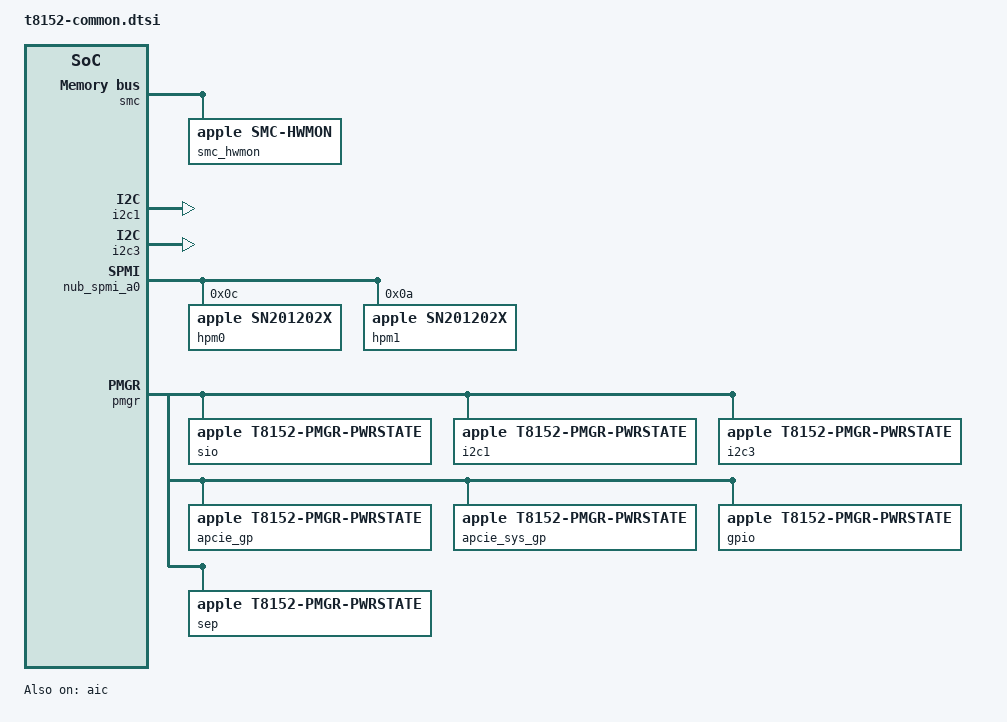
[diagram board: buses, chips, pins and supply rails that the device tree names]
// SPDX-License-Identifier: GPL-2.0+ OR MIT
/*
 * Core description shared by the T8152 boards booted from RAM by the loader
 * (J804, J833ct). The loader fills usable memory, the release addresses of
 * the CPUs it started (and removes the others) and the boot framebuffer.
 * The console is the framebuffer. Every value here is identical in the J804
 * and J833ct ADTs; boards add only what differs.
 *
 * Split out of t8152-j804.dts (LiamRay11).
 */

#include "t8152.dtsi"
#include <dt-bindings/gpio/gpio.h>
#include <dt-bindings/spmi/spmi.h>

/ {
	/* Retain the RAM handoff and secondary CPU park contract. */
	aurora,minimal-boot;

	chosen {
		#address-cells = <2>;
		#size-cells = <2>;
		ranges;

		framebuffer0: framebuffer@0 {
			compatible = "apple,simple-framebuffer", "simple-framebuffer";
			reg = <0 0 0 0>; /* Filled by the loader. */
			status = "disabled";
		};
	};

	/*
	 * As on M4 and later, the OS cannot request core power-down: both idle
	 * states are WFI. The driver must be bound for s2idle to freeze the
	 * tick and suspend timekeeping.
	 */
	cpuidle {
		compatible = "apple,t8152-cpuidle", "apple,t8140-cpuidle";
	};

	/*
	 * The first two CPU performance states of each cluster, which the
	 * driver may use without a thermal policy, as on J873.
	 */
	m6_e_opp: opp-table-e {
		compatible = "operating-points-v2";
		opp-shared;

		opp-972000000 {
			opp-hz = /bits/ 64 <972000000>;
			opp-level = <2>;
		};
		opp-1152000000 {
			opp-hz = /bits/ 64 <1152000000>;
			opp-level = <3>;
		};
	};

	m6_pm_opp: opp-table-pm {
		compatible = "operating-points-v2";
		opp-shared;

		opp-1440000000 {
			opp-hz = /bits/ 64 <1440000000>;
			opp-level = <2>;
		};
		opp-1728000000 {
			opp-hz = /bits/ 64 <1728000000>;
			opp-level = <3>;
		};
	};
};

&{/reserved-memory} {
	smc-firmware@30de00000 {
		reg = <3 0x0de00000 0 0x120000>;
		no-map;
	};
};

&cpu0 {
	operating-points-v2 = <&m6_e_opp>;
	performance-domains = <&m6_e_cpufreq>;
	status = "okay";
};

&cpu1 {
	operating-points-v2 = <&m6_e_opp>;
	performance-domains = <&m6_e_cpufreq>;
	status = "okay";
};

&cpu2 {
	operating-points-v2 = <&m6_e_opp>;
	performance-domains = <&m6_e_cpufreq>;
	status = "okay";
};

&cpu3 {
	operating-points-v2 = <&m6_e_opp>;
	performance-domains = <&m6_e_cpufreq>;
	status = "okay";
};

&cpu4 {
	operating-points-v2 = <&m6_e_opp>;
	performance-domains = <&m6_e_cpufreq>;
	status = "okay";
};

&cpu5 {
	operating-points-v2 = <&m6_e_opp>;
	performance-domains = <&m6_e_cpufreq>;
	status = "okay";
};

&cpu6 {
	operating-points-v2 = <&m6_pm_opp>;
	performance-domains = <&m6_pm_cpufreq>;
	status = "okay";
};

&cpu7 {
	operating-points-v2 = <&m6_pm_opp>;
	performance-domains = <&m6_pm_cpufreq>;
	status = "okay";
};

&cpu8 {
	operating-points-v2 = <&m6_pm_opp>;
	performance-domains = <&m6_pm_cpufreq>;
	status = "okay";
};

&cpu9 {
	operating-points-v2 = <&m6_pm_opp>;
	performance-domains = <&m6_pm_cpufreq>;
	status = "okay";
};

&cpu10 {
	operating-points-v2 = <&m6_pm_opp>;
	performance-domains = <&m6_pm_cpufreq>;
	status = "okay";
};

&cpu11 {
	operating-points-v2 = <&m6_pm_opp>;
	performance-domains = <&m6_pm_cpufreq>;
	status = "okay";
};

&aic {
	status = "okay";
};

&{/timer} {
	status = "okay";
};

&{/soc} {
	m6_e_cpufreq: performance-controller@210e20000 {
		compatible = "apple,t8152-cluster-cpufreq";
		reg = <2 0x10e20000 0 0x1000>;
		#performance-domain-cells = <0>;
	};

	m6_pm_cpufreq: performance-controller@211e20000 {
		compatible = "apple,t8152-cluster-cpufreq";
		reg = <2 0x11e20000 0 0x1000>;
		#performance-domain-cells = <0>;
	};

	smc_mbox: mailbox@30c710080 {
		compatible = "apple,t8152-smc-mailbox";
		reg = <3 0x0c710080 0 0x80>;
		interrupts = <AIC_IRQ 760 IRQ_TYPE_LEVEL_HIGH>,
			     <AIC_IRQ 759 IRQ_TYPE_LEVEL_HIGH>;
		interrupt-names = "send-empty", "recv-not-empty";
		#mbox-cells = <0>;
	};

	smc: smc@30c600000 {
		compatible = "apple,t8152-smc";
		reg = <3 0x0c600000 0 0x74000>,
		      <3 0x0de00000 0 0x120000>;
		reg-names = "smc", "sram";
		mboxes = <&smc_mbox>;

		/* Boards add their fan and power keys. */
		smc_hwmon: hwmon {
			compatible = "apple,smc-hwmon";
			apple,discover-temperatures;
		};
	};

	wdt: watchdog@3082b0000 {
		compatible = "apple,t8152-wdt", "apple,t8103-wdt";
		reg = <3 0x082b0000 0 0x4000>;
		clocks = <&clkref>;
		interrupts = <AIC_IRQ 447 IRQ_TYPE_LEVEL_HIGH>;
	};

	pinctrl_ap: pinctrl@31a000000 {
		/*
		 * Uncached (T8140 profile): a cache filled at probe would read
		 * pins 78 and 208, which fault on an AP read. Boards reserve
		 * their ADT no-restore-gpio-pins with gpio-reserved-ranges.
		 */
		compatible = "apple,t8152-pinctrl", "apple,t8140-pinctrl";
		reg = <0x3 0x1a000000 0x0 0x100000>;
		gpio-controller;
		#gpio-cells = <2>;
		gpio-ranges = <&pinctrl_ap 0 0 224>;
		apple,npins = <224>;
		interrupt-controller;
		#interrupt-cells = <2>;
		interrupts = <AIC_IRQ 433 IRQ_TYPE_LEVEL_HIGH>,
			     <AIC_IRQ 434 IRQ_TYPE_LEVEL_HIGH>,
			     <AIC_IRQ 435 IRQ_TYPE_LEVEL_HIGH>,
			     <AIC_IRQ 436 IRQ_TYPE_LEVEL_HIGH>,
			     <AIC_IRQ 437 IRQ_TYPE_LEVEL_HIGH>,
			     <AIC_IRQ 438 IRQ_TYPE_LEVEL_HIGH>,
			     <AIC_IRQ 439 IRQ_TYPE_LEVEL_HIGH>;
	};

	/* The headphone jack codec. */
	i2c1: i2c@331014000 {
		compatible = "apple,t8152-i2c", "apple,t8103-i2c";
		reg = <3 0x31014000 0 0x4000>;
		clocks = <&clkref>;
		interrupts = <AIC_IRQ 1414 IRQ_TYPE_LEVEL_HIGH>;
		#address-cells = <1>;
		#size-cells = <0>;
		power-domains = <&ps_i2c1>;
		resets = <&ps_i2c1>;

		/* Disabled until the sound card that uses it is described. */
		jack_codec: codec@4b {
			compatible = "cirrus,cs42l84";
			reg = <0x4b>;
			reset-gpios = <&pinctrl_ap 204 GPIO_ACTIVE_HIGH>;
			interrupts-extended = <&pinctrl_ap 203 IRQ_TYPE_LEVEL_LOW>;
			#sound-dai-cells = <0>;
			status = "disabled";
		};
	};

	/* The speaker amplifiers, described with the audio support. */
	i2c3: i2c@33101c000 {
		compatible = "apple,t8152-i2c", "apple,t8103-i2c";
		reg = <3 0x3101c000 0 0x4000>;
		clocks = <&clkref>;
		interrupts = <AIC_IRQ 1416 IRQ_TYPE_LEVEL_HIGH>;
		#address-cells = <1>;
		#size-cells = <0>;
		power-domains = <&ps_i2c3>;
		resets = <&ps_i2c3>;
	};

	/*
	 * The USB-C PD controllers (SN201202x) of the first two USB-C ports,
	 * on nub-spmi-a0 at the same SIDs in the J804 and J833ct ADTs. They are
	 * polled, as on T8142 and T6050. There is no connector graph: the
	 * ports' dwc3 and ATC PHY nodes are not described on these boards yet.
	 * Boards add their other controllers on this bus.
	 */
	nub_spmi_a0: spmi@308908000 {
		compatible = "apple,t8152-spmi", "apple,t8142-spmi";
		reg = <0x3 0x08908000 0x0 0x4000>;
		#address-cells = <2>;
		#size-cells = <0>;

		hpm0: usb-pd@c {
			compatible = "apple,sn201202x";
			reg = <0xc SPMI_USID>;
		};

		hpm1: usb-pd@a {
			compatible = "apple,sn201202x";
			reg = <0xa SPMI_USID>;
		};
	};
};

/* The boot NOR (NVRAM) and the PMGR block, as on J873. */
#include "t8152-j873-qspi.dtsi"

&pmgr {
	/* On at handoff; the I2C controllers below hang off it. */
	ps_sio: power-controller@840 {
		compatible = "apple,t8152-pmgr-pwrstate",
			     "apple,t8103-pmgr-pwrstate";
		reg = <0x840 4>;
		#power-domain-cells = <0>;
		#reset-cells = <0>;
		label = "sio";
		apple,always-on;
	};

	ps_i2c1: power-controller@cc0 {
		compatible = "apple,t8152-pmgr-pwrstate",
			     "apple,t8103-pmgr-pwrstate";
		reg = <0xcc0 4>;
		#power-domain-cells = <0>;
		#reset-cells = <0>;
		label = "i2c1";
		power-domains = <&ps_sio>;
	};

	ps_i2c3: power-controller@d00 {
		compatible = "apple,t8152-pmgr-pwrstate",
			     "apple,t8103-pmgr-pwrstate";
		reg = <0xd00 4>;
		#power-domain-cells = <0>;
		#reset-cells = <0>;
		label = "i2c3";
		power-domains = <&ps_sio>;
	};

	/*
	 * The internal PCIe (apcie): ADT pmgr devices APCIE_GP +0x8c0 and its
	 * child APCIE_SYS_GP +0xec0. The loader trains the N1 link with them
	 * on; they stay on so the link is not dropped under the endpoint.
	 */
	ps_apcie_gp: power-controller@8c0 {
		compatible = "apple,t8152-pmgr-pwrstate",
			     "apple,t8103-pmgr-pwrstate";
		reg = <0x8c0 4>;
		#power-domain-cells = <0>;
		#reset-cells = <0>;
		label = "apcie_gp";
		apple,always-on;
	};

	ps_apcie_sys_gp: power-controller@ec0 {
		compatible = "apple,t8152-pmgr-pwrstate",
			     "apple,t8103-pmgr-pwrstate";
		reg = <0xec0 4>;
		#power-domain-cells = <0>;
		#reset-cells = <0>;
		label = "apcie_sys_gp";
		power-domains = <&ps_apcie_gp>;
		apple,always-on;
	};

	/*
	 * The GPIO block the SEP depends on, as on T8140 and T8142: kept on,
	 * since the enclave stops servicing its mailbox for good once it is
	 * switched off under it.
	 */
	ps_gpio: power-controller@b60 {
		compatible = "apple,t8152-pmgr-pwrstate",
			     "apple,t8103-pmgr-pwrstate";
		reg = <0xb60 4>;
		#power-domain-cells = <0>;
		#reset-cells = <0>;
		label = "gpio";
		apple,always-on;
	};

	/* The SEP's own state: critical in the ADT, the enclave gates it itself. */
	ps_sep: power-controller@c00 {
		compatible = "apple,t8152-pmgr-pwrstate",
			     "apple,t8103-pmgr-pwrstate";
		reg = <0xc00 4>;
		#power-domain-cells = <0>;
		#reset-cells = <0>;
		label = "sep";
		apple,always-on;
	};
};
